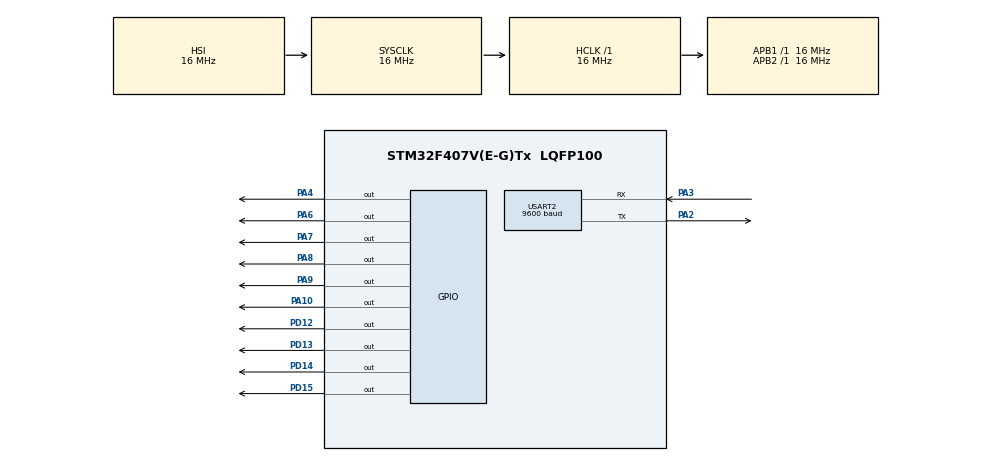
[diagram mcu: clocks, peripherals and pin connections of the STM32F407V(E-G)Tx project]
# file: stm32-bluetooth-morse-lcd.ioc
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Mcu.Family=STM32F4
Mcu.Name=STM32F407V(E-G)Tx
Mcu.Package=LQFP100
NVIC.PriorityGroup=NVIC_PRIORITYGROUP_4
NVIC.USART2_IRQn=true\:0\:0\:false\:false\:true\:true\:true\:true
PA10.Signal=GPIO_Output
PA2.Mode=Asynchronous
PA2.Signal=USART2_TX
PA3.Mode=Asynchronous
PA3.Signal=USART2_RX
PA4.Signal=GPIO_Output
PA6.Signal=GPIO_Output
PA7.Signal=GPIO_Output
PA8.Signal=GPIO_Output
PA9.Signal=GPIO_Output
PD12.Signal=GPIO_Output
PD13.Signal=GPIO_Output
PD14.Signal=GPIO_Output
PD15.Signal=GPIO_Output
ProjectManager.HeapSize=0x200
ProjectManager.StackSize=0x400
ProjectManager.TargetToolchain=STM32CubeIDE
RCC.AHBFreq_Value=16000000
RCC.APB1Freq_Value=16000000
RCC.APB2Freq_Value=16000000
RCC.CortexFreq_Value=16000000
RCC.HSE_VALUE=25000000
RCC.HSI_VALUE=16000000
RCC.LSE_VALUE=32768
RCC.SYSCLKFreq_VALUE=16000000
RCC.VCOOutputFreq_Value=192000000
USART2.BaudRate=9600
USART2.VirtualMode=VM_ASYNC
board=custom

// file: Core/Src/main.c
/* USER CODE BEGIN Header */
/**
  ******************************************************************************
  * @file           : main.c
  * @brief          : Main program body
  * @author         : M. Eyub Can, TECH-OHM (https://tech-ohm.com)
  ******************************************************************************
  * @attention
  *
  * Copyright (c) 2025 STMicroelectronics.
  * All rights reserved.
  *
  * This software is licensed under terms that can be found in the LICENSE file
  * in the root directory of this software component.
  * If no LICENSE file comes with this software, it is provided AS-IS.
  *
  ******************************************************************************
  */
/* USER CODE END Header */
#include "main.h"

/* USER CODE BEGIN Includes */
#include "lcd.h"
#include "string.h"

char rxData;           // one character at a time
char morsBuffer[100];  // dots and dashes of the current letter
int morsIndex = 0;
int cursorPos = 0;
volatile int yeniHarfVar = 0;
char gelenHarf = '?';

// Maps a Morse sequence to a character
typedef struct {
    const char* morse;
    const char  letter;
} MorseMap;

MorseMap morseTable[] = {

    // letters
	{".-",   'A'}, {"-...", 'B'}, {"-.-.", 'C'},{"-..",'D'},
    {".",    'E'}, {"..-.", 'F'}, {"--.",  'G'}, {"....", 'H'},
    {"..",   'I'}, {".---", 'J'}, {"-.-",  'K'}, {".-..", 'L'},
    {"--",   'M'}, {"-.",   'N'}, {"---",  'O'}, {".--.", 'P'},
    {"--.-", 'Q'}, {".-.",  'R'}, {"...",  'S'}, {"-",    'T'},
    {"..-",  'U'}, {"...-", 'V'}, {".--",  'W'}, {"-..-", 'X'},
    {"-.--", 'Y'}, {"--..", 'Z'},

	// digits
	{"-----", '0'},{".----", '1'},{"..---", '2'},{"...--", '3'},
	{"....-", '4'},{".....", '5'},{"-....", '6'},
	{"--...", '7'}, {"---..", '8'},{"----.", '9'},

	//punctuation
	{".-.-.-", '.'},{"--..--", ','},{"..--..", '?'},
	{".----.", '\''},{"-.-.--", '!'},{"-..-.",  '/'},{"-.--.",  '('},
	{"-.--.-", ')'},{".-...",  '&'},{"---...", ':'},{"-.-.-.", ';'},
	{"-...-",  '='},{".-.-.",  '+'},{"-....-", '-'},{"..--.-", '_'},
	{".-..-.", '"'},{"...-..-", '$'},{".--.-.", '@'},{"------.",'<'},
	// space
	{" ", ' '}

};
#define MORSE_TABLE_SIZE (sizeof(morseTable) / sizeof(MorseMap))

char morseToChar(const char* morseCode) {
    for (int i = 0; i < MORSE_TABLE_SIZE; i++) {
        if (strcmp(morseTable[i].morse, morseCode) == 0) {
            return morseTable[i].letter;
        }
    }
    return '?';
}
/* USER CODE END Includes */

UART_HandleTypeDef huart2;

void SystemClock_Config(void);
static void MX_GPIO_Init(void);
static void MX_USART2_UART_Init(void);
/* USER CODE BEGIN PFP */

void HAL_UART_RxCpltCallback(UART_HandleTypeDef *huart){
    if (huart->Instance == USART2) {
        if (rxData == '&') {
            morsBuffer[morsIndex] = '\0';
            gelenHarf = morseToChar(morsBuffer);
            yeniHarfVar = 1;  // the main loop does the LCD write
            morsIndex = 0;
        } else {
            if (morsIndex < sizeof(morsBuffer) - 1)
                morsBuffer[morsIndex++] = rxData;
        }

        HAL_UART_Receive_IT(&huart2, (uint8_t *)&rxData, 1);
    }
}

/* USER CODE END PFP */

int main(void)
{

  /* MCU Configuration--------------------------------------------------------*/

  /* Reset of all peripherals, Initializes the Flash interface and the Systick. */
  HAL_Init();

  /* Configure the system clock */
  SystemClock_Config();

  /* Initialize all configured peripherals */
  MX_GPIO_Init();
  MX_USART2_UART_Init();
  /* USER CODE BEGIN 2 */
  HAL_UART_Receive_IT(&huart2, (uint8_t *)&rxData, 1);
  LCD_Init();
  LCD_Clear();

  /* USER CODE END 2 */

  /* Infinite loop */
  while (1)
  {

    /* USER CODE BEGIN 3 */
    if (yeniHarfVar)
    {
      char str[2] = {gelenHarf, '\0'};

      /* 16x2 display is full: clear it and start over */
      if (cursorPos >= 32) {
        LCD_Clear();
        cursorPos = 0;
      }
      LCD_SetCursor(cursorPos / 16, cursorPos % 16);
      LCD_SendString(str);
      cursorPos++;
      yeniHarfVar = 0;
    }
  }
  /* USER CODE END 3 */
}

void SystemClock_Config(void)
{
  RCC_OscInitTypeDef RCC_OscInitStruct = {0};
  RCC_ClkInitTypeDef RCC_ClkInitStruct = {0};

  /** Configure the main internal regulator output voltage
  */
  __HAL_RCC_PWR_CLK_ENABLE();
  __HAL_PWR_VOLTAGESCALING_CONFIG(PWR_REGULATOR_VOLTAGE_SCALE1);

  /** Initializes the RCC Oscillators according to the specified parameters
  * in the RCC_OscInitTypeDef structure.
  */
  RCC_OscInitStruct.OscillatorType = RCC_OSCILLATORTYPE_HSI;
  RCC_OscInitStruct.HSIState = RCC_HSI_ON;
  RCC_OscInitStruct.HSICalibrationValue = RCC_HSICALIBRATION_DEFAULT;
  RCC_OscInitStruct.PLL.PLLState = RCC_PLL_NONE;
  if (HAL_RCC_OscConfig(&RCC_OscInitStruct) != HAL_OK)
  {
    Error_Handler();
  }

  /** Initializes the CPU, AHB and APB buses clocks
  */
  RCC_ClkInitStruct.ClockType = RCC_CLOCKTYPE_HCLK|RCC_CLOCKTYPE_SYSCLK
                              |RCC_CLOCKTYPE_PCLK1|RCC_CLOCKTYPE_PCLK2;
  RCC_ClkInitStruct.SYSCLKSource = RCC_SYSCLKSOURCE_HSI;
  RCC_ClkInitStruct.AHBCLKDivider = RCC_SYSCLK_DIV1;
  RCC_ClkInitStruct.APB1CLKDivider = RCC_HCLK_DIV1;
  RCC_ClkInitStruct.APB2CLKDivider = RCC_HCLK_DIV1;

  if (HAL_RCC_ClockConfig(&RCC_ClkInitStruct, FLASH_LATENCY_0) != HAL_OK)
  {
    Error_Handler();
  }
}

static void MX_USART2_UART_Init(void)
{

  huart2.Instance = USART2;
  huart2.Init.BaudRate = 9600;
  huart2.Init.WordLength = UART_WORDLENGTH_8B;
  huart2.Init.StopBits = UART_STOPBITS_1;
  huart2.Init.Parity = UART_PARITY_NONE;
  huart2.Init.Mode = UART_MODE_TX_RX;
  huart2.Init.HwFlowCtl = UART_HWCONTROL_NONE;
  huart2.Init.OverSampling = UART_OVERSAMPLING_16;
  if (HAL_UART_Init(&huart2) != HAL_OK)
  {
    Error_Handler();
  }

}

static void MX_GPIO_Init(void)
{
  GPIO_InitTypeDef GPIO_InitStruct = {0};

  /* GPIO Ports Clock Enable */
  __HAL_RCC_GPIOA_CLK_ENABLE();
  __HAL_RCC_GPIOD_CLK_ENABLE();

  /*Configure GPIO pin Output Level */
  HAL_GPIO_WritePin(GPIOA, GPIO_PIN_4|GPIO_PIN_6|GPIO_PIN_7|GPIO_PIN_8
                          |GPIO_PIN_9|GPIO_PIN_10, GPIO_PIN_RESET);

  /*Configure GPIO pin Output Level */
  HAL_GPIO_WritePin(GPIOD, GPIO_PIN_12|GPIO_PIN_13|GPIO_PIN_14|GPIO_PIN_15, GPIO_PIN_RESET);

  /*Configure GPIO pins : PA4 PA6 PA7 PA8
                           PA9 PA10 */
  GPIO_InitStruct.Pin = GPIO_PIN_4|GPIO_PIN_6|GPIO_PIN_7|GPIO_PIN_8
                          |GPIO_PIN_9|GPIO_PIN_10;
  GPIO_InitStruct.Mode = GPIO_MODE_OUTPUT_PP;
  GPIO_InitStruct.Pull = GPIO_NOPULL;
  GPIO_InitStruct.Speed = GPIO_SPEED_FREQ_LOW;
  HAL_GPIO_Init(GPIOA, &GPIO_InitStruct);

  /*Configure GPIO pins : PD12 PD13 PD14 PD15 */
  GPIO_InitStruct.Pin = GPIO_PIN_12|GPIO_PIN_13|GPIO_PIN_14|GPIO_PIN_15;
  GPIO_InitStruct.Mode = GPIO_MODE_OUTPUT_PP;
  GPIO_InitStruct.Pull = GPIO_NOPULL;
  GPIO_InitStruct.Speed = GPIO_SPEED_FREQ_LOW;
  HAL_GPIO_Init(GPIOD, &GPIO_InitStruct);

}

void Error_Handler(void)
{
  __disable_irq();
  while (1)
  {
  }
}
